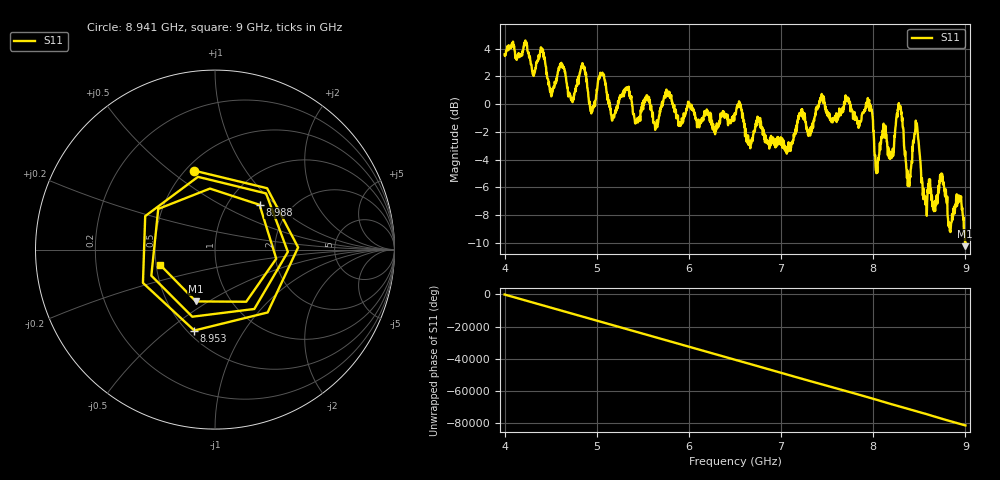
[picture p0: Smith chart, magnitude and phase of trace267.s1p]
! Created with skrf 1.8.0 (http://scikit-rf.org).
# Hz S RI R 50.0
!freq ReS11 ImS11
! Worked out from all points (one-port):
!   1601 points, 4 GHz to 9 GHz, reference 50 ohm
!   lowest |S11| = -10.2 dB at 8.997 GHz (marker M1), VSWR 1.89, Z = 34.6 - j22.1 ohm
!   |S11| at or under -10 dB: 8.996137 GHz to 8.999949 GHz (3.812 MHz wide, 0.0424 % of centre)
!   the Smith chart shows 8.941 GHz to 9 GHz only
!   S11 on the Smith chart (normalised r, x): 8.941 GHz: 0.55, +0.61; 8.953 GHz: 0.54, -0.62; 8.988 GHz: 1.40, +0.80; 9 GHz: 0.53, -0.10
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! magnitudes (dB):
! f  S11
! 4 GHz  3.6
! 4.409 GHz  3.9
! 4.512 GHz  0.7
! 4.625 GHz  2.8
! 4.725 GHz  0.3
! 4.847 GHz  2.9
! 4.941 GHz  -0.7
! 5.047 GHz  2.2
! 5.172 GHz  -1.0
! 5.25 GHz  0.4
! 5.875 GHz  -0.9
! 6.5 GHz  -0.8
! 7.125 GHz  -2.8
! 7.441 GHz  0.7
! 7.75 GHz  -0.1
! 7.966 GHz  0.0
! 8.041 GHz  -4.6
! 8.112 GHz  -1.4
! 8.197 GHz  -3.8
! 8.291 GHz  -0.2
! 8.375 GHz  -5.9
! 8.466 GHz  -1.7
! 8.562 GHz  -6.7
! 8.941 GHz  -6.8
! 8.953 GHz  -6.6
! 8.988 GHz  -9.1
! 8.997 GHz  -10.2
! 9 GHz  -10.0
